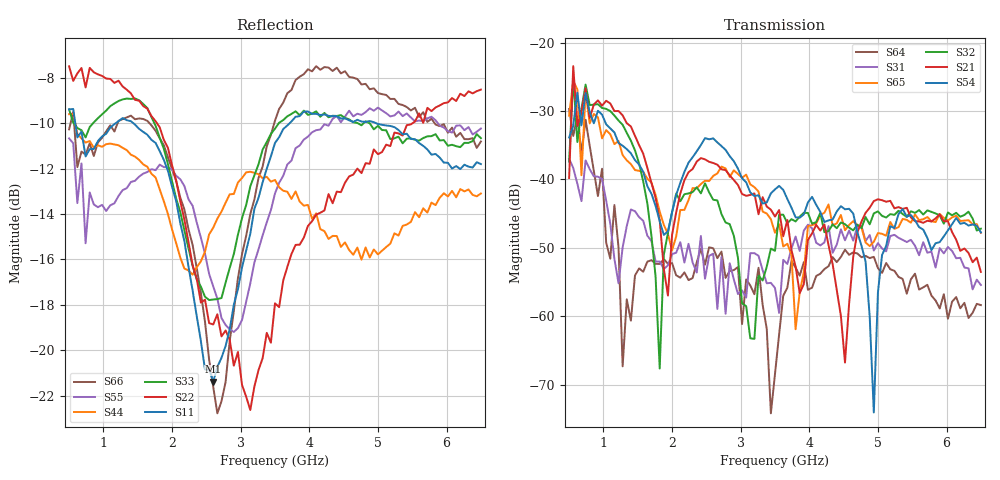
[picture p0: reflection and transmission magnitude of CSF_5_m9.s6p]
!Keysight Technologies,M9804A,MY58100912,A.14.10.03
!Date: Thursday, April 27, 2023 10:28:33
!Correction: S11(C  6-Port  )
!S12(C  6-Port  )
!S13(C  6-Port  )
!S14(C  6-Port  )
!S15(C  6-Port  )
!S16(C  6-Port  )
!S21(C  6-Port  )
!S22(C  6-Port  )
!S23(C  6-Port  )
!S24(C  6-Port  )
!S25(C  6-Port  )
!S26(C  6-Port  )
!S31(C  6-Port  )
!S32(C  6-Port  )
!S33(C  6-Port  )
!S34(C  6-Port  )
!S35(C  6-Port  )
!S36(C  6-Port  )
!S41(C  6-Port  )
!S42(C  6-Port  )
!S43(C  6-Port  )
!S44(C  6-Port  )
!S45(C  6-Port  )
!S46(C  6-Port  )
!S51(C  6-Port  )
!S52(C  6-Port  )
!S53(C  6-Port  )
!S54(C  6-Port  )
!S55(C  6-Port  )
!S56(C  6-Port  )
!S61(C  6-Port  )
!S62(C  6-Port  )
!S63(C  6-Port  )
!S64(C  6-Port  )
!S65(C  6-Port  )
!S66(C  6-Port  )
!S6P File: Measurement: :
# Hz S  RI  R 50
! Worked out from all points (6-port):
!   101 points, 500 MHz to 6.5 GHz, reference 50 ohm
!   strongest paths, dB at 500 MHz, 2 GHz, 3.5 GHz, 5 GHz, 6.5 GHz:
!     S54: -33.9, -44.8, -41.5, -56.5, -47.7
!     S21: -39.8, -48.1, -45.4, -42.9, -53.5
!     S32: -37.4, -44.8, -50.4, -44.7, -47.2
!     S65: -30.7, -50.4, -47.8, -47.8, -47.8
!     S31: -37.0, -50.9, -55.9, -49.3, -55.4
!     S64: -29.7, -52.2, -68.4, -53.0, -58.4
!   lowest |S11| = -21.4 dB at 2.6 GHz (marker M1), VSWR 1.19, Z = 42.4 + j2.19 ohm
!   |S11| at or under -10 dB: 590.3 MHz to 1.176 GHz (585.3 MHz wide, 66.3 % of centre); 1.438 GHz to 3.711 GHz (2.273 GHz wide, 88.3 % of centre); 4.978 GHz to end of sweep
